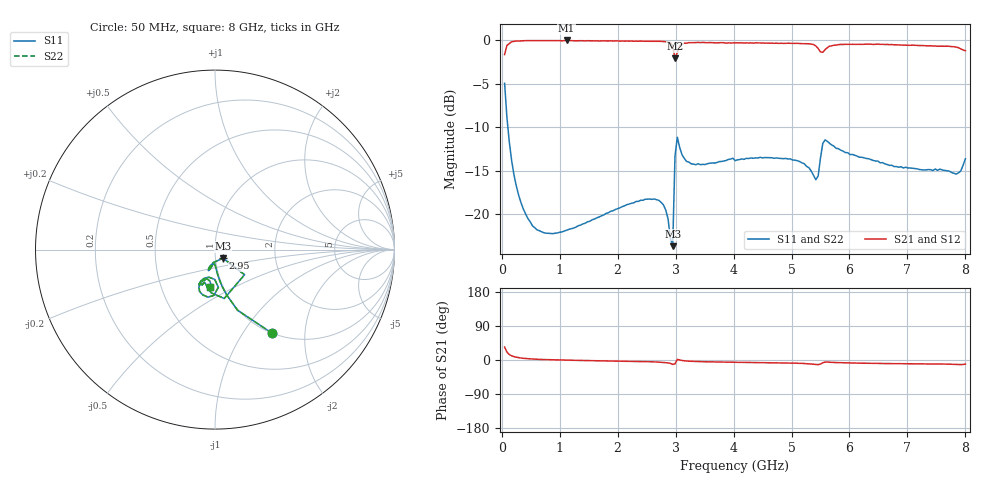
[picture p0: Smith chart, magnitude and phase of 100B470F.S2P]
!  American Technical Ceramics  Date:  3/13/98
!  One Norden Lane
!  Huntington Station,  NY.  11746-2102
!  Tel:  (516) 547-5700  Fax:  (516) 547-5748
!  Part Number  100b470f
!  Description: Porcelain, High Q, Low ESR
!  Application: Bypass, Coupling, Timing, Feedback
!  Tuning, Impedance Match, Blocking
# GHZ S DB R 50
! Freq  |S11|  S11 Ph  |S21|  S21 Ph  |S12|  S12 Ph  |S22|  S22 Ph
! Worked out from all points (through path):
!   201 points, 50 MHz to 8 GHz, reference 50 ohm
!   highest |S21| = -0.01 dB at 1.12 GHz (marker M1); lowest = -2.0 dB at 2.99 GHz (marker M2)
!   group delay of S21, straight-line fit = 5.53 ps
!   lowest |S11| = -23.7 dB at 2.95 GHz (marker M3), VSWR 1.14, Z = 54.4 - j5.25 ohm
!   |S11| at or under -10 dB: 106.4 MHz to end of sweep
!   |S22| runs from -23.7 to -4.9 dB; largest |S21 - S12| = 0
!   S11 on the Smith chart (normalised r, x): 50 MHz: 1.00, -1.37; 2.95 GHz: 1.09, -0.10; 8 GHz: 0.87, -0.37
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0.05  -4.94 -55.6  -1.63 34.3  -1.63 34.3  -4.94 -55.6
0.09  -8.87 -69.6  -0.58 20.9  -0.58 20.9  -8.87 -69.6
0.13  -11.63 -75.5  -0.38 14.5  -0.38 14.5  -11.63 -75.5
0.25  -16.71 -83.4  -0.07 7.4  -0.07 7.4  -16.71 -83.4
0.37  -19.36 -86.7  -0.04 4.5  -0.04 4.5  -19.36 -86.7
0.61  -21.82 -90.4  -0.03 1.9  -0.03 1.9  -21.82 -90.4
1.12  -21.86 -96.3  -0.01 -0.5  -0.01 -0.5  -21.86 -96.3
1.4  -21.13 -98.6  -0.04 -1.3  -0.04 -1.3  -21.13 -98.6
2.71  -18.41 -108.2  -0.11 -5.6  -0.11 -5.6  -18.41 -108.2
2.83  -19.53 -108.2  -0.14 -6.8  -0.14 -6.8  -19.53 -108.2
2.95  -23.69 -47.3  -0.63 -11.6  -0.63 -11.6  -23.69 -47.3
2.99  -13.30 -40.3  -2.05 -10.0  -2.05 -10.0  -13.30 -40.3
3.03  -11.15 -79.3  -1.41 1.6  -1.41 1.6  -11.15 -79.3
3.11  -13.15 -100.6  -0.43 -1.2  -0.43 -1.2  -13.15 -100.6
4.03  -13.85 -111.9  -0.28 -6.0  -0.28 -6.0  -13.85 -111.9
4.98  -13.64 -114.7  -0.34 -8.2  -0.34 -8.2  -13.64 -114.7
5.38  -15.55 -109.1  -0.48 -11.1  -0.48 -11.1  -15.55 -109.1
5.46  -15.60 -90.6  -0.94 -12.2  -0.94 -12.2  -15.60 -90.6
5.58  -11.45 -98.4  -1.06 -5.5  -1.06 -5.5  -11.45 -98.4
6.69  -14.39 -113.3  -0.49 -9.5  -0.49 -9.5  -14.39 -113.3
7.84  -15.39 -105.1  -0.77 -11.7  -0.77 -11.7  -15.39 -105.1
8  -13.63 -98.4  -1.19 -10.8  -1.19 -10.8  -13.63 -98.4
